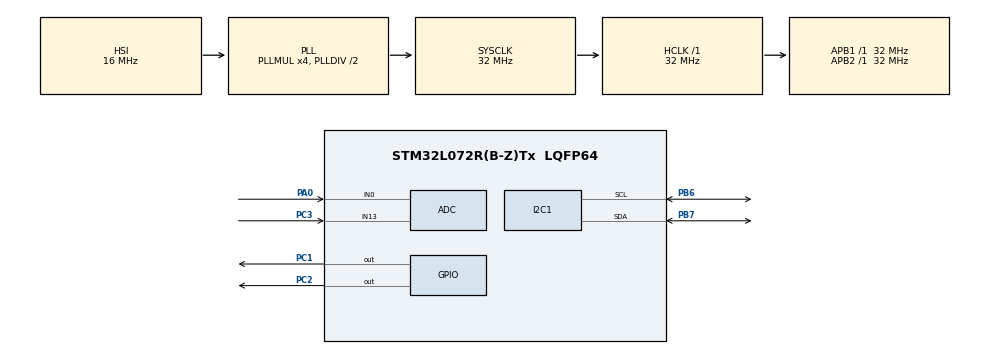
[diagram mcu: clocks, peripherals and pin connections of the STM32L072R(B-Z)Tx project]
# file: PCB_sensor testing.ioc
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ADC.ContinuousConvMode=DISABLE
ADC.DiscontinuousConvMode=DISABLE
ADC.EOCSelection=ADC_EOC_SINGLE_CONV
I2C1.Timing=0x00707CBB
Mcu.Family=STM32L0
Mcu.Name=STM32L072R(B-Z)Tx
Mcu.Package=LQFP64
PA0.Mode=IN0
PA0.Signal=ADC_IN0
PB6.Mode=I2C
PB6.Signal=I2C1_SCL
PB7.Mode=I2C
PB7.Signal=I2C1_SDA
PC1.Signal=GPIO_Output
PC2.Signal=GPIO_Output
PC3.Mode=IN13
PC3.Signal=ADC_IN13
ProjectManager.HeapSize=0x200
ProjectManager.StackSize=0x400
ProjectManager.TargetToolchain=STM32CubeIDE
RCC.AHBFreq_Value=32000000
RCC.APB1Freq_Value=32000000
RCC.APB1TimFreq_Value=32000000
RCC.APB2Freq_Value=32000000
RCC.APB2TimFreq_Value=32000000
RCC.HCLKFreq_Value=32000000
RCC.HSE_VALUE=8000000
RCC.HSI16_VALUE=16000000
RCC.HSI48_VALUE=48000000
RCC.HSI_VALUE=16000000
RCC.LSE_VALUE=32768
RCC.MSIAutoCalibration=DISABLED
RCC.MSI_VALUE=2097000
RCC.PLLMUL=RCC_PLLMUL_4
RCC.SYSCLKFreq_VALUE=32000000
RCC.SYSCLKSource=RCC_SYSCLKSOURCE_PLLCLK
RCC.VCOOutputFreq_Value=64000000
TIM2.Period=65534
TIM2.Prescaler=31
VP_TIM2_VS_ClockSourceINT.Mode=Internal
board=custom

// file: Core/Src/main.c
/* USER CODE BEGIN Header */
/**
  ******************************************************************************
  * @file           : main.c
  * @brief          : Main program body
  ******************************************************************************
  * @attention
  *
  * <h2><center>&copy; Copyright (c) 2022 STMicroelectronics.
  * All rights reserved.</center></h2>
  *
  * This software component is licensed by ST under BSD 3-Clause license,
  * the "License"; You may not use this file except in compliance with the
  * License. You may obtain a copy of the License at:
  *                        opensource.org/licenses/BSD-3-Clause
  *
  ******************************************************************************
  */
/* USER CODE END Header */
#include "main.h"

/* USER CODE BEGIN Includes */
#include <string.h>
#include <stdio.h>
#include "delay.h"
#include "DHT22.h"
#include "DS18B20.h"
#include "BMP180.h"
/* USER CODE END Includes */

ADC_HandleTypeDef hadc;

I2C_HandleTypeDef hi2c1;

TIM_HandleTypeDef htim2;

void SystemClock_Config(void);
static void MX_TIM2_Init(void);
static void MX_GPIO_Init(void);
static void MX_I2C1_Init(void);
static void MX_ADC_Init(void);

int main(void)
{
  /* USER CODE BEGIN 1 */
	float DHT_Temp = 0;
	float DHT_Hum = 0;
	float BMP_Temp, BMP_Alt, BMP_Pressure;

	uint8_t t1, t2, h1, h2, p;
	uint16_t temp, hum, sum;

	uint8_t DS18B20_Temp1, DS18B20_Temp2;
	uint16_t DS18B20_T;
	float internalTemp = 0;

	uint16_t light = 0;
	float voltage;

	uint16_t  moisture = 0;
  /* USER CODE END 1 */

  /* MCU Configuration--------------------------------------------------------*/

  /* Reset of all peripherals, Initializes the Flash interface and the Systick. */
  HAL_Init();

  /* Configure the system clock */
  SystemClock_Config();

  /* Initialize all configured peripherals */
  MX_TIM2_Init();
  MX_GPIO_Init();
  MX_I2C1_Init();
  MX_ADC_Init();
  /* USER CODE BEGIN 2 */
  HAL_TIM_Base_Start(&htim2);
 // int __io_putchar(int ch) {
	//  ITM_SendChar(ch);
	  //return ch;
  //}
  /////////////////////////////////////////////
  //dataCalibration();
  /////////////////////////////////////////////
  /* USER CODE END 2 */

  /* Infinite loop */
  while (1)
  {

    /* USER CODE BEGIN 3 */

/*	  //-------------------------------------------------------------------------BMP180
	  BMP_Temp = getTemp(); //Get Temperature
	  BMP_Temp = ((BMP_Temp * 9) / 5) + 32; //Convert to F
	  BMP_Pressure = getPressure(0); //Get Pressure
	  BMP_Alt = getAlt(0); //Get Altitude

	  //-------------------------------------------------------------------------DHT22
	  sensorInit(); //Initialize the DHT22
	  p = sensorVerify();
	  if(p) {
		  h1 = sensorRead(); //Read Lower 8 Humidity
		  h2 = sensorRead(); //Read Upper 8 Humidity
		  t1 = sensorRead(); //Read Lower 8 Temperature
		  t2 = sensorRead(); //Read Upper 8 Temperature
		  sum = sensorRead(); //Read Checksum

		  temp = ((t1 << 8) | t2); //Assemble Temperature
	  	  hum = ((h1 << 8 | h2)); //Assemble Humidity
	  	  DHT_Temp = (float) (temp/10.0); //Get Temperature
	  	  DHT_Temp = ((DHT_Temp * 9) / 5) + 32; //Convert from Celsius
	  	  DHT_Hum = (float) (hum/10.0); //Get Humidity
	  	  }

	  //-------------------------------------------------------------------------DS18B20

	  p = dsInit(); //Initialize the DS18B20
	  if(p) {
		  HAL_Delay(1);
		  dsWrite(0xCC); //Skip ROM Command
		  dsWrite(0x44); //Convert Temperature
	  }
	  p = dsInit(); //Initialize DS18B20 Again
	  if(p) {
		  HAL_Delay(1);
		  dsWrite(0xCC); //Skip ROM Command
		  dsWrite(0xBE); //Read Scratchpad
		  DS18B20_Temp1 = dsRead(); //Read Lower 8
		  DS18B20_Temp2 = dsRead(); //Read Upper 8
		  DS18B20_T = (DS18B20_Temp2 << 8) | DS18B20_Temp1; //Combine
		  internalTemp = (float) DS18B20_T/16; //Get Temperature
		  internalTemp = ((internalTemp * 9) / 5) + 32; //Convert to F
	  }

	  //--------------------------------------------------------------------------LDR
	  ADC_ChannelConfTypeDef sConfig = {0};
	  sConfig.Channel = ADC_CHANNEL_0;
	  sConfig.Rank = 1;
	 // sConfig.SamplingTime = ADC_SAMPLETIME_28CYCLES; //l0 hal has no .samplingtime attribute?
	  if(HAL_ADC_ConfigChannel(&hadc, &sConfig) != HAL_OK) {
		  Error_Handler();
	  }
	  HAL_ADC_Start(&hadc); //Start Light ADC
	  HAL_ADC_PollForConversion(&hadc, HAL_MAX_DELAY);
	  light = HAL_ADC_GetValue(&hadc);
	  voltage = 3.3 * light;
	  voltage = voltage / 4095;

	  */

	  //---------------------------------------------------------------------------Soil moisture
	  ADC_ChannelConfTypeDef sConfig = {0};
	  //sConfig.Channel = ADC_CHANNEL_13;
	  /////////////////////////////////////////////
	  sConfig.Channel = ADC_CHANNEL_0;
	  /////////////////////////////////////////////////
	  sConfig.Rank = 1;
	  // sConfig.SamplingTime = ADC_SAMPLETIME_84CYCLES;
	  if(HAL_ADC_ConfigChannel(&hadc, &sConfig) != HAL_OK) {
		  Error_Handler();
	  }
	  HAL_ADC_Start(&hadc); //Start Soil ADC
	  HAL_ADC_PollForConversion(&hadc, HAL_MAX_DELAY);
	  moisture = HAL_ADC_GetValue(&hadc);
	  //gcvt(voltage, 6, voltBuffer);
	  HAL_Delay(1000);
  }
  /* USER CODE END 3 */
}

void SystemClock_Config(void)
{
  RCC_OscInitTypeDef RCC_OscInitStruct = {0};
  RCC_ClkInitTypeDef RCC_ClkInitStruct = {0};
  RCC_PeriphCLKInitTypeDef PeriphClkInit = {0};

  /** Configure the main internal regulator output voltage
  */
  __HAL_PWR_VOLTAGESCALING_CONFIG(PWR_REGULATOR_VOLTAGE_SCALE1);
  /** Initializes the RCC Oscillators according to the specified parameters
  * in the RCC_OscInitTypeDef structure.
  */
  RCC_OscInitStruct.OscillatorType = RCC_OSCILLATORTYPE_HSI;
  RCC_OscInitStruct.HSIState = RCC_HSI_ON;
  RCC_OscInitStruct.HSICalibrationValue = RCC_HSICALIBRATION_DEFAULT;
  RCC_OscInitStruct.PLL.PLLState = RCC_PLL_ON;
  RCC_OscInitStruct.PLL.PLLSource = RCC_PLLSOURCE_HSI;
  RCC_OscInitStruct.PLL.PLLMUL = RCC_PLLMUL_4;
  RCC_OscInitStruct.PLL.PLLDIV = RCC_PLLDIV_2;
  if (HAL_RCC_OscConfig(&RCC_OscInitStruct) != HAL_OK)
  {
    Error_Handler();
  }
  /** Initializes the CPU, AHB and APB buses clocks
  */
  RCC_ClkInitStruct.ClockType = RCC_CLOCKTYPE_HCLK|RCC_CLOCKTYPE_SYSCLK
                              |RCC_CLOCKTYPE_PCLK1|RCC_CLOCKTYPE_PCLK2;
  RCC_ClkInitStruct.SYSCLKSource = RCC_SYSCLKSOURCE_PLLCLK;
  RCC_ClkInitStruct.AHBCLKDivider = RCC_SYSCLK_DIV1;
  RCC_ClkInitStruct.APB1CLKDivider = RCC_HCLK_DIV1;
  RCC_ClkInitStruct.APB2CLKDivider = RCC_HCLK_DIV1;

  if (HAL_RCC_ClockConfig(&RCC_ClkInitStruct, FLASH_LATENCY_1) != HAL_OK)
  {
    Error_Handler();
  }
  PeriphClkInit.PeriphClockSelection = RCC_PERIPHCLK_I2C1;
  PeriphClkInit.I2c1ClockSelection = RCC_I2C1CLKSOURCE_PCLK1;
  if (HAL_RCCEx_PeriphCLKConfig(&PeriphClkInit) != HAL_OK)
  {
    Error_Handler();
  }
}

static void MX_ADC_Init(void)
{

  ADC_ChannelConfTypeDef sConfig = {0};

  /** Configure the global features of the ADC (Clock, Resolution, Data Alignment and number of conversion)
  */
  hadc.Instance = ADC1;
  hadc.Init.OversamplingMode = DISABLE;
  hadc.Init.ClockPrescaler = ADC_CLOCK_SYNC_PCLK_DIV2;
  hadc.Init.Resolution = ADC_RESOLUTION_12B;
  hadc.Init.SamplingTime = ADC_SAMPLETIME_1CYCLE_5;
  hadc.Init.ScanConvMode = ADC_SCAN_DIRECTION_FORWARD;
  hadc.Init.DataAlign = ADC_DATAALIGN_RIGHT;
  hadc.Init.ContinuousConvMode = DISABLE;
  hadc.Init.DiscontinuousConvMode = DISABLE;
  hadc.Init.ExternalTrigConvEdge = ADC_EXTERNALTRIGCONVEDGE_NONE;
  hadc.Init.ExternalTrigConv = ADC_SOFTWARE_START;
  hadc.Init.DMAContinuousRequests = DISABLE;
  hadc.Init.EOCSelection = ADC_EOC_SINGLE_CONV;
  hadc.Init.Overrun = ADC_OVR_DATA_PRESERVED;
  hadc.Init.LowPowerAutoWait = DISABLE;
  hadc.Init.LowPowerFrequencyMode = DISABLE;
  hadc.Init.LowPowerAutoPowerOff = DISABLE;
  if (HAL_ADC_Init(&hadc) != HAL_OK)
  {
    Error_Handler();
  }
  /** Configure for the selected ADC regular channel to be converted.
  */
  sConfig.Channel = ADC_CHANNEL_0;
  sConfig.Rank = ADC_RANK_CHANNEL_NUMBER;
  if (HAL_ADC_ConfigChannel(&hadc, &sConfig) != HAL_OK)
  {
    Error_Handler();
  }
  /** Configure for the selected ADC regular channel to be converted.
  */
  sConfig.Channel = ADC_CHANNEL_13;
  if (HAL_ADC_ConfigChannel(&hadc, &sConfig) != HAL_OK)
  {
    Error_Handler();
  }

}

static void MX_I2C1_Init(void)
{

  hi2c1.Instance = I2C1;
  hi2c1.Init.Timing = 0x00707CBB;
  hi2c1.Init.OwnAddress1 = 0;
  hi2c1.Init.AddressingMode = I2C_ADDRESSINGMODE_7BIT;
  hi2c1.Init.DualAddressMode = I2C_DUALADDRESS_DISABLE;
  hi2c1.Init.OwnAddress2 = 0;
  hi2c1.Init.OwnAddress2Masks = I2C_OA2_NOMASK;
  hi2c1.Init.GeneralCallMode = I2C_GENERALCALL_DISABLE;
  hi2c1.Init.NoStretchMode = I2C_NOSTRETCH_DISABLE;
  if (HAL_I2C_Init(&hi2c1) != HAL_OK)
  {
    Error_Handler();
  }
  /** Configure Analogue filter
  */
  if (HAL_I2CEx_ConfigAnalogFilter(&hi2c1, I2C_ANALOGFILTER_ENABLE) != HAL_OK)
  {
    Error_Handler();
  }
  /** Configure Digital filter
  */
  if (HAL_I2CEx_ConfigDigitalFilter(&hi2c1, 0) != HAL_OK)
  {
    Error_Handler();
  }

}

static void MX_TIM2_Init(void)
{

  TIM_ClockConfigTypeDef sClockSourceConfig = {0};
  TIM_MasterConfigTypeDef sMasterConfig = {0};

  htim2.Instance = TIM2;
  htim2.Init.Prescaler = 24;
  htim2.Init.CounterMode = TIM_COUNTERMODE_UP;
  htim2.Init.Period = 65535;
  htim2.Init.ClockDivision = TIM_CLOCKDIVISION_DIV1;
  htim2.Init.AutoReloadPreload = TIM_AUTORELOAD_PRELOAD_DISABLE;
  if (HAL_TIM_Base_Init(&htim2) != HAL_OK)
  {
    Error_Handler();
  }
  sClockSourceConfig.ClockSource = TIM_CLOCKSOURCE_INTERNAL;
  if (HAL_TIM_ConfigClockSource(&htim2, &sClockSourceConfig) != HAL_OK)
  {
    Error_Handler();
  }
  sMasterConfig.MasterOutputTrigger = TIM_TRGO_RESET;
  sMasterConfig.MasterSlaveMode = TIM_MASTERSLAVEMODE_DISABLE;
  if (HAL_TIMEx_MasterConfigSynchronization(&htim2, &sMasterConfig) != HAL_OK)
  {
    Error_Handler();
  }

}

static void MX_GPIO_Init(void)
{
  GPIO_InitTypeDef GPIO_InitStruct = {0};

  /* GPIO Ports Clock Enable */
  __HAL_RCC_GPIOC_CLK_ENABLE();
  __HAL_RCC_GPIOA_CLK_ENABLE();
  __HAL_RCC_GPIOB_CLK_ENABLE();

  /*Configure GPIO pin Output Level */
  HAL_GPIO_WritePin(GPIOC, GPIO_PIN_1|GPIO_PIN_2, GPIO_PIN_RESET);

  /*Configure GPIO pins : PC1 PC2 */
  GPIO_InitStruct.Pin = GPIO_PIN_1|GPIO_PIN_2;
  GPIO_InitStruct.Mode = GPIO_MODE_OUTPUT_PP;
  GPIO_InitStruct.Pull = GPIO_NOPULL;
  GPIO_InitStruct.Speed = GPIO_SPEED_FREQ_LOW;
  HAL_GPIO_Init(GPIOC, &GPIO_InitStruct);

}

void Error_Handler(void)
{
  __disable_irq();
  while (1)
  {
  }
}

/************************ (C) COPYRIGHT STMicroelectronics *****END OF FILE****/
